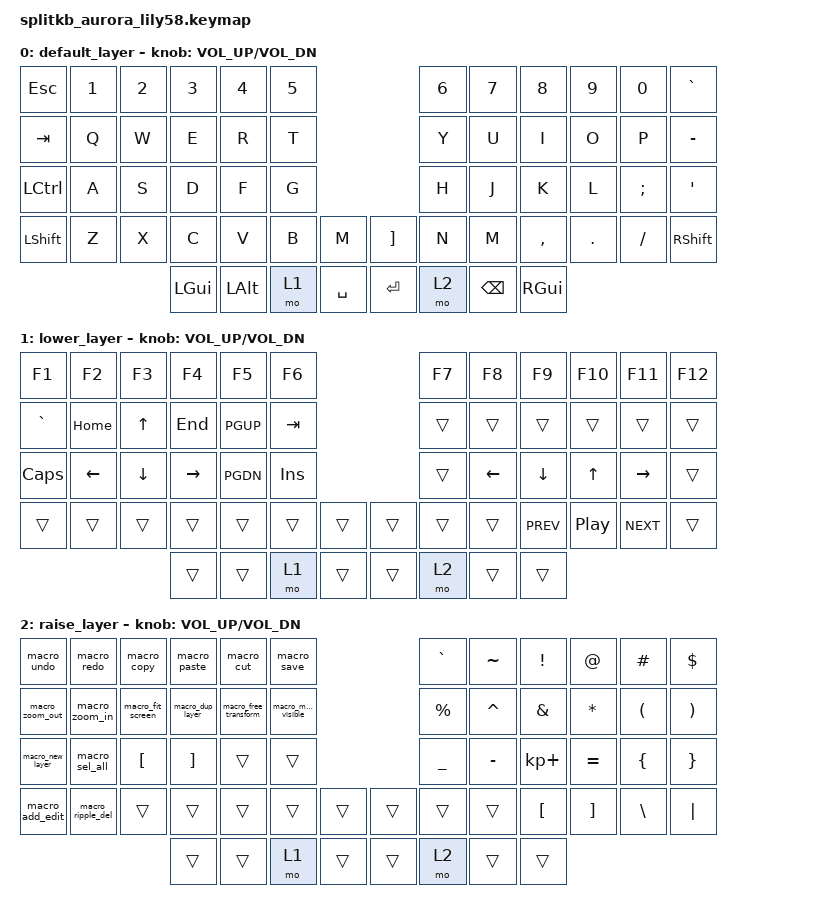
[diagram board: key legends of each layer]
/*
 * lilly keymap — Left-hand-"sole" QWERTZ für Lily58 Pro
 * ─────────────────────────────────────────────────────────
 * Konzept:
 *   • Linke Hand = "sole" (Haupt-Hand): Navigation, Mods, Layer,
 *     Makros → rechte Hand bleibt frei für Maus/Stylus.
 *   • Trotzdem beidhändig ausgelegt für normales Tippen.
 *   • QWERTZ (Y↔Z getauscht).
 *   • Gaming-freundlich (WASD, Zahlen, Space, Shift, Ctrl
 *     bleiben an gewohnter Position).
 *   • Makro-Layer für Photoshop/GIMP, Video-Editing, etc.
 *   • Split-Keyboard- & Touch-Typing-Anfänger freundlich
 *     durch logische Layer-Struktur und Kommentare.
 *
 * Layer-Übersicht:
 *   0 – BASE:   QWERTZ tippen
 *   1 – LOWER:  Navigation (Pfeile, Home, End…), F-Tasten,
 *               Mediensteuerung → linker Daumen
 *   2 – RAISE:  Symbole, Sonderzeichen + Kreativ-Makros
 *               → rechter Daumen
 *
 * Makros (definiert in /macros):
 *   UNDO, REDO, COPY, PASTE, CUT, SAVE, SEL_ALL,
 *   NEW_LAYER, DUP_LAYER, FREE_TRANSFORM, MERGE_VISIBLE,
 *   ZOOM_IN, ZOOM_OUT, FIT_SCREEN, ADD_EDIT, RIPPLE_DEL
 *
 * Daumen-Cluster:
 *   Links:  LGUI | LALT | LOWER(mo1) | SPACE
 *   Rechts: RET  | BSPC | RAISE(mo2) | RGUI
 *   → Space liegt am linken Daumen – optimal zum Spielen
 *     und für Daumen-Anfänger.
 *   → Enter & Backspace am rechten Daumen – logisch für
 *     beidhändiges Tippen.
 */

#include <behaviors.dtsi>
#include <dt-bindings/zmk/keys.h>

/ {
    /*
     * ─── Makro-Definitionen ──────────────────────────────
     * Alle Makros sind als `&your_macro` in den Layern
     * verwendbar.
     */

    macros {
        /* ── Allgemeine Shortcuts ─────────────────────── */

        macro_undo: macro_undo {
            compatible = "zmk,behavior-macro";
            label = "UNDO";
            #binding-cells = <0>;
            bindings =
                <&macro_press>,
                <&kp LCTRL>,
                <&macro_tap>,
                <&kp Z>,
                <&macro_release>,
                <&kp LCTRL>;
        };

        macro_redo: macro_redo {
            compatible = "zmk,behavior-macro";
            label = "REDO";
            #binding-cells = <0>;
            bindings =
                <&macro_press>,
                <&kp LCTRL>,
                <&macro_press>,
                <&kp LSHFT>,
                <&macro_tap>,
                <&kp Z>,
                <&macro_release>,
                <&kp LSHFT>,
                <&macro_release>,
                <&kp LCTRL>;
        };

        macro_copy: macro_copy {
            compatible = "zmk,behavior-macro";
            label = "COPY";
            #binding-cells = <0>;
            bindings =
                <&macro_press>,
                <&kp LCTRL>,
                <&macro_tap>,
                <&kp C>,
                <&macro_release>,
                <&kp LCTRL>;
        };

        macro_paste: macro_paste {
            compatible = "zmk,behavior-macro";
            label = "PASTE";
            #binding-cells = <0>;
            bindings =
                <&macro_press>,
                <&kp LCTRL>,
                <&macro_tap>,
                <&kp V>,
                <&macro_release>,
                <&kp LCTRL>;
        };

        macro_cut: macro_cut {
            compatible = "zmk,behavior-macro";
            label = "CUT";
            #binding-cells = <0>;
            bindings =
                <&macro_press>,
                <&kp LCTRL>,
                <&macro_tap>,
                <&kp X>,
                <&macro_release>,
                <&kp LCTRL>;
        };

        macro_save: macro_save {
            compatible = "zmk,behavior-macro";
            label = "SAVE";
            #binding-cells = <0>;
            bindings =
                <&macro_press>,
                <&kp LCTRL>,
                <&macro_tap>,
                <&kp S>,
                <&macro_release>,
                <&kp LCTRL>;
        };

        macro_sel_all: macro_sel_all {
            compatible = "zmk,behavior-macro";
            label = "SEL_ALL";
            #binding-cells = <0>;
            bindings =
                <&macro_press>,
                <&kp LCTRL>,
                <&macro_tap>,
                <&kp A>,
                <&macro_release>,
                <&kp LCTRL>;
        };

        /* ── Photoshop / GIMP / Grafik ────────────────── */

        macro_new_layer: macro_new_layer {
            compatible = "zmk,behavior-macro";
            label = "NEW_LAYER";
            #binding-cells = <0>;
            bindings =
                <&macro_press>,
                <&kp LCTRL>,
                <&macro_press>,
                <&kp LSHFT>,
                <&macro_tap>,
                <&kp N>,
                <&macro_release>,
                <&kp LSHFT>,
                <&macro_release>,
                <&kp LCTRL>;
        };

        macro_dup_layer: macro_dup_layer {
            compatible = "zmk,behavior-macro";
            label = "DUP_LAYER";
            #binding-cells = <0>;
            bindings =
                <&macro_press>,
                <&kp LCTRL>,
                <&macro_tap>,
                <&kp J>,
                <&macro_release>,
                <&kp LCTRL>;
        };

        macro_free_transform: macro_free_transform {
            compatible = "zmk,behavior-macro";
            label = "FREE_TRANSFORM";
            #binding-cells = <0>;
            bindings =
                <&macro_press>,
                <&kp LCTRL>,
                <&macro_tap>,
                <&kp T>,
                <&macro_release>,
                <&kp LCTRL>;
        };

        macro_merge_visible: macro_merge_visible {
            compatible = "zmk,behavior-macro";
            label = "MERGE_VISIBLE";
            #binding-cells = <0>;
            bindings =
                <&macro_press>,
                <&kp LCTRL>,
                <&macro_press>,
                <&kp LSHFT>,
                <&macro_press>,
                <&kp LALT>,
                <&macro_tap>,
                <&kp E>,
                <&macro_release>,
                <&kp LALT>,
                <&macro_release>,
                <&kp LSHFT>,
                <&macro_release>,
                <&kp LCTRL>;
        };

        macro_zoom_in: macro_zoom_in {
            compatible = "zmk,behavior-macro";
            label = "ZOOM_IN";
            #binding-cells = <0>;
            bindings =
                <&macro_press>,
                <&kp LCTRL>,
                <&macro_tap>,
                <&kp EQUAL>,
                <&macro_release>,
                <&kp LCTRL>;
        };

        macro_zoom_out: macro_zoom_out {
            compatible = "zmk,behavior-macro";
            label = "ZOOM_OUT";
            #binding-cells = <0>;
            bindings =
                <&macro_press>,
                <&kp LCTRL>,
                <&macro_tap>,
                <&kp MINUS>,
                <&macro_release>,
                <&kp LCTRL>;
        };

        macro_fit_screen: macro_fit_screen {
            compatible = "zmk,behavior-macro";
            label = "FIT_SCREEN";
            #binding-cells = <0>;
            bindings =
                <&macro_press>,
                <&kp LCTRL>,
                <&macro_tap>,
                <&kp N0>,
                <&macro_release>,
                <&kp LCTRL>;
        };

        /* ── Video-Editing (Premiere / DaVinci) ──────── */

        macro_add_edit: macro_add_edit {
            compatible = "zmk,behavior-macro";
            label = "ADD_EDIT";
            #binding-cells = <0>;
            bindings =
                <&macro_press>,
                <&kp LCTRL>,
                <&macro_tap>,
                <&kp K>,
                <&macro_release>,
                <&kp LCTRL>;
        };

        macro_ripple_del: macro_ripple_del {
            compatible = "zmk,behavior-macro";
            label = "RIPPLE_DEL";
            #binding-cells = <0>;
            bindings =
                <&macro_press>,
                <&kp LSHFT>,
                <&macro_tap>,
                <&kp DEL>,
                <&macro_release>,
                <&kp LSHFT>;
        };
    };

    /*
     * ─── Keymap ──────────────────────────────────────────
     */

    keymap {
        compatible = "zmk,keymap";

        /* ================================================
         * LAYER 0: BASE – QWERTZ (beidhändig)
         * ================================================
         * Linke Hand:    primäre Tasten, Modifier, Layer
         * Rechte Hand:   sekundäre Tasten, Enter, Bspc
         *
         * Daumen links:  GUI | ALT | LOWER | SPACE
         * Daumen rechts: RET | BSPC| RAISE | GUI
         *
         * ┌───┬───┬───┬───┬───┬───┐     ┌───┬───┬───┬───┬───┬───┐
         * │ESC│ 1 │ 2 │ 3 │ 4 │ 5 │     │ 6 │ 7 │ 8 │ 9 │ 0 │ ` │
         * ├───┼───┼───┼───┼───┼───┤     ├───┼───┼───┼───┼───┼───┤
         * │TAB│ Q │ W │ E │ R │ T │     │ Z │ U │ I │ O │ P │ - │
         * ├───┼───┼───┼───┼───┼───┤     ├───┼───┼───┼───┼───┼───┤
         * │CTL│ A │ S │ D │ F │ G │     │ H │ J │ K │ L │ ; │ ' │
         * ├───┼───┼───┼───┼───┼───┼──┬──┼───┼───┼───┼───┼───┼───┤
         * │SFT│ Y │ X │ C │ V │ B │ [│ ]│ N │ M │ , │ . │ / │SFT│
         * └───┴───┴───┴───┴───┴───┴──┴──┴───┴───┴───┴───┴───┴───┘
         *          ┌───┬───┬───┬───┐     ┌───┬───┬───┬───┐
         *          │GUI│ALT│LWR│SPC│     │RET│BSP│RSE│GUI│
         *          └───┴───┴───┴───┘     └───┴───┴───┴───┘
         *
         * QWERTZ: Z→Y getauscht (Z links oben, Y links unten).
         * WASD:   bleibt an Position (W=oben, A=home, S=home, D=home).
         * Space:  linker Daumen → Gaming + Touch-Typing.
         */

        default_layer {
            bindings = <
&kp ESC    &kp N1  &kp N2  &kp N3    &kp N4    &kp N5                         &kp N6  &kp N7    &kp N8     &kp N9   &kp N0    &kp GRAVE
&kp TAB    &kp Q   &kp W   &kp E     &kp R     &kp T                          &kp Y   &kp U     &kp I      &kp O    &kp P     &kp MINUS
&kp LCTRL  &kp A   &kp S   &kp D     &kp F     &kp G                          &kp H   &kp J     &kp K      &kp L    &kp SEMI  &kp SQT
&kp LSHFT  &kp Z   &kp X   &kp C     &kp V     &kp B   &kp M        &kp RBKT  &kp N   &kp M     &kp COMMA  &kp DOT  &kp FSLH  &kp RSHFT
                           &kp LGUI  &kp LALT  &mo 1   &kp SPACE    &kp RET   &mo 2   &kp BSPC  &kp RGUI
            >;

            sensor-bindings = <&inc_dec_kp C_VOL_UP C_VOL_DN>;
        };

        /* ================================================
         * LAYER 1: LOWER – Navigation, F-Tasten, Medien
         * ================================================
         * Linker Daumen hält LOWER → Linke Hand:
         *   • Pfeiltasten + Navi-Block (Home, End, PgUp, PgDn)
         *   • F1–F12 für Spiele/Programme
         *   • Mediensteuerung (Play, Lautstärke)
         * Rechte Hand bleibt frei für Maus!
         *
         * Gaming: Pfeile + F-Tasten + ESC griffbereit links.
         *
         * ┌───┬───┬───┬───┬───┬───┐     ┌───┬───┬───┬───┬───┬───┐
         * │ F1│ F2│ F3│ F4│ F5│ F6│     │ F7│ F8│ F9│F10│F11│F12│
         * ├───┼───┼───┼───┼───┼───┤     ├───┼───┼───┼───┼───┼───┤
         * │ ` │HOME│ UP│END│PGU│TAB│     │F13│F14│F15│F16│F17│F18│
         * ├───┼───┼───┼───┼───┼───┤     ├───┼───┼───┼───┼───┼───┤
         * │CAP│LFT│DWN│RGT│PGD│INS│     │   │ ← │ ↓ │ ↑ │ → │   │
         * ├───┼───┼───┼───┼───┼───┼──┬──┼───┼───┼───┼───┼───┼───┤
         * │   │   │   │   │   │   │  │  │   │   │PRV│PLY│NXT│   │
         * └───┴───┴───┴───┴───┴───┴──┴──┴───┴───┴───┴───┴───┴───┘
         *          ┌───┬───┬───┬───┐     ┌───┬───┬───┬───┐
         *          │TRN│TRN│LWR│   │     │TRN│TRN│RSE│TRN│
         *          └───┴───┴───┴───┘     └───┴───┴───┴───┘
         */

        lower_layer {
            bindings = <
&kp F1     &kp F2    &kp F3    &kp F4     &kp F5    &kp F6                     &kp F7  &kp F8    &kp F9      &kp F10   &kp F11     &kp F12
&kp GRAVE  &kp HOME  &kp UP    &kp END    &kp PGUP  &kp TAB                    &trans  &trans    &trans      &trans    &trans      &trans
&kp CAPS   &kp LEFT  &kp DOWN  &kp RIGHT  &kp PGDN  &kp INS                    &trans  &kp LEFT  &kp DOWN    &kp UP    &kp RIGHT   &trans
&trans     &trans    &trans    &trans     &trans    &trans   &trans    &trans  &trans  &trans    &kp C_PREV  &kp C_PP  &kp C_NEXT  &trans
                               &trans     &trans    &mo 1    &trans    &trans  &mo 2   &trans    &trans
            >;

            sensor-bindings = <&inc_dec_kp C_VOL_UP C_VOL_DN>;
        };

        /* ================================================
         * LAYER 2: RAISE – Symbole + Kreativ-Makros
         * ================================================
         * Rechter Daumen hält RAISE → Linke Hand = Makros!
         * Alle wichtigen Shortcuts für Photoshop, GIMP,
         * Video-Editing usw. sind auf der LINKEN Seite
         * (rechte Hand bedient Maus/Stylus).
         *
         * Linke Seite (Makros):
         *   UNDO → REDO → COPY → PASTE → CUT → SAVE
         *   ZOOM- → ZOOM+ → FIT → DUP → FREE-T → STAMP
         *   NEU-L → MERGE → BRH- → BRH+ → LYR↑ → LYR↓
         *
         * Rechte Seite (Symbole / Sonderzeichen):
         *   ` ~ ! @ # $ % ^ & * ( ) _ - + = { } [ ] | \
         *
         * ┌───┬───┬───┬───┬───┬───┐     ┌───┬───┬───┬───┬───┬───┐
         * │UND│RED│CPY│PST│CUT│SAV│     │ ` │ ~ │ ! │ @ │ # │ $ │
         * ├───┼───┼───┼───┼───┼───┤     ├───┼───┼───┼───┼───┼───┤
         * │ZO-│ZO+│FIT│DUP│FRT│STA│     │ % │ ^ │ & │ * │ ( │ ) │
         * ├───┼───┼───┼───┼───┼───┤     ├───┼───┼───┼───┼───┼───┤
         * │NLR│MRG│BRD│BRI│LYU│LYD│     │ _ │ - │ + │ = │ { │ } │
         * ├───┼───┼───┼───┼───┼───┼──┬──┼───┼───┼───┼───┼───┼───┤
         * │ADD│RPD│SEL│   │   │   │  │  │   │   │ [ │ ] │ \ │ | │
         * └───┴───┴───┴───┴───┴───┴──┴──┴───┴───┴───┴───┴───┴───┘
         *          ┌───┬───┬───┬───┐     ┌───┬───┬───┬───┐
         *          │TRN│TRN│LWR│TRN│     │TRN│TRN│RSE│TRN│
         *          └───┴───┴───┴───┘     └───┴───┴───┴───┘
         */

        raise_layer {
            bindings = <
&macro_undo       &macro_redo        &macro_copy        &macro_paste      &macro_cut             &macro_save                             &kp GRAVE  &kp TILDE  &kp EXCL     &kp AT     &kp HASH  &kp DOLLAR
&macro_zoom_out   &macro_zoom_in     &macro_fit_screen  &macro_dup_layer  &macro_free_transform  &macro_merge_visible                    &kp PRCNT  &kp CARET  &kp AMPS     &kp STAR   &kp LPAR  &kp RPAR
&macro_new_layer  &macro_sel_all     &kp LBKT           &kp RBKT          &trans                 &trans                                  &kp UNDER  &kp MINUS  &kp KP_PLUS  &kp EQUAL  &kp LBRC  &kp RBRC
&macro_add_edit   &macro_ripple_del  &trans             &trans            &trans                 &trans                &trans    &trans  &trans     &trans     &kp LBKT     &kp RBKT   &kp BSLH  &kp PIPE
                                                        &trans            &trans                 &mo 1                 &trans    &trans  &mo 2      &trans     &trans
            >;

            sensor-bindings = <&inc_dec_kp C_VOL_UP C_VOL_DN>;
        };
    };
};
